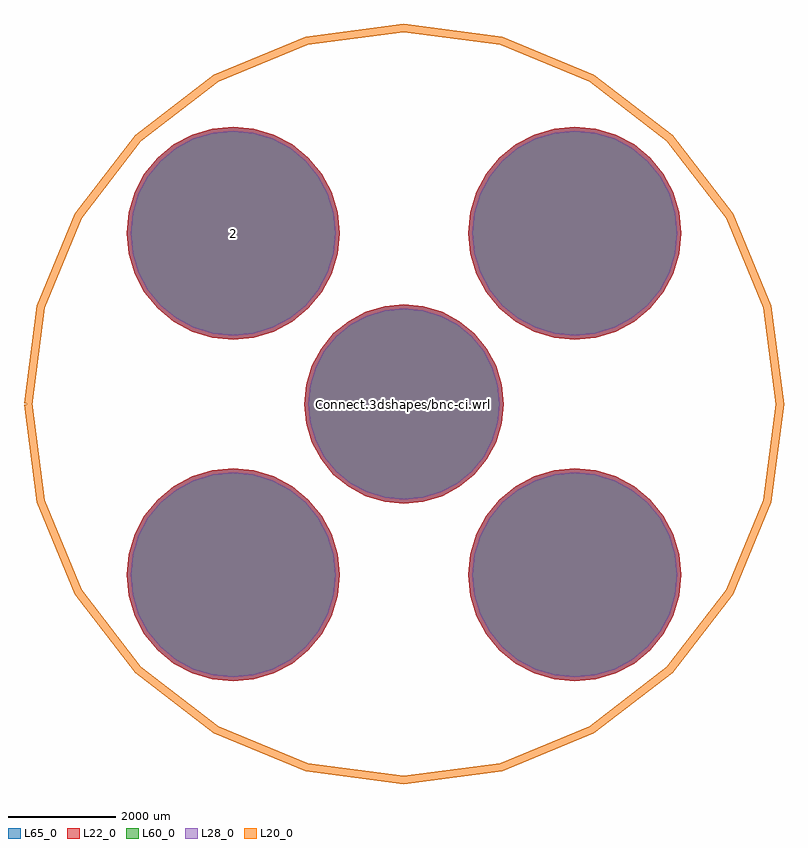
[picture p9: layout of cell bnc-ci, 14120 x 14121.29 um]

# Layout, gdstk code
import gdstk
lib = gdstk.Library(unit=1e-6, precision=1e-09)
def P(c, l, *ps):  # polygons
    for p in ps: c.add(gdstk.Polygon(p, *l))
L20_0 = (20, 0)
L22_0 = (22, 0)
L28_0 = (28, 0)
L60_0 = (60, 0)
L65_0 = (65, 0)

bnc_ci = lib.new_cell('bnc-ci')
P(bnc_ci, L22_0, [(5155,-3175),(5116.955,-2788.721),(5004.281,-2417.287),(4821.31,-2074.971),(4575.071,-1774.929),(4275.029,-1528.69),(3932.713,-1345.719),(3561.279,-1233.045),(3175,-1195),(2788.721,-1233.045),(2417.287,-1345.719),(2074.971,-1528.69),(1774.929,-1774.929),(1528.69,-2074.971),(1345.719,-2417.287),(1233.045,-2788.721),(1195,-3175),(1233.045,-3561.279),(1345.719,-3932.713),(1528.69,-4275.029),(1774.929,-4575.071),(2074.971,-4821.31),(2417.287,-5004.281),(2788.721,-5116.955),(3175,-5155),(3561.279,-5116.955),(3932.713,-5004.281),(4275.029,-4821.31),(4575.071,-4575.071),(4821.31,-4275.029),(5004.281,-3932.713),(5116.955,-3561.279)],
  [(-1195,-3175),(-1233.045,-2788.721),(-1345.719,-2417.287),(-1528.69,-2074.971),(-1774.929,-1774.929),(-2074.971,-1528.69),(-2417.287,-1345.719),(-2788.721,-1233.045),(-3175,-1195),(-3561.279,-1233.045),(-3932.713,-1345.719),(-4275.029,-1528.69),(-4575.071,-1774.929),(-4821.31,-2074.971),(-5004.281,-2417.287),(-5116.955,-2788.721),(-5155,-3175),(-5116.955,-3561.279),(-5004.281,-3932.713),(-4821.31,-4275.029),(-4575.071,-4575.071),(-4275.029,-4821.31),(-3932.713,-5004.281),(-3561.279,-5116.955),(-3175,-5155),(-2788.721,-5116.955),(-2417.287,-5004.281),(-2074.971,-4821.31),(-1774.929,-4575.071),(-1528.69,-4275.029),(-1345.719,-3932.713),(-1233.045,-3561.279)],
  [(5155,3175),(5116.955,3561.279),(5004.281,3932.713),(4821.31,4275.029),(4575.071,4575.071),(4275.029,4821.31),(3932.713,5004.281),(3561.279,5116.955),(3175,5155),(2788.721,5116.955),(2417.287,5004.281),(2074.971,4821.31),(1774.929,4575.071),(1528.69,4275.029),(1345.719,3932.713),(1233.045,3561.279),(1195,3175),(1233.045,2788.721),(1345.719,2417.287),(1528.69,2074.971),(1774.929,1774.929),(2074.971,1528.69),(2417.287,1345.719),(2788.721,1233.045),(3175,1195),(3561.279,1233.045),(3932.713,1345.719),(4275.029,1528.69),(4575.071,1774.929),(4821.31,2074.971),(5004.281,2417.287),(5116.955,2788.721)],
  [(1853,0),(1817.395,361.502),(1711.949,709.112),(1540.713,1029.472),(1310.269,1310.269),(1029.472,1540.713),(709.112,1711.949),(361.502,1817.395),(0,1853),(-361.502,1817.395),(-709.112,1711.949),(-1029.472,1540.713),(-1310.269,1310.269),(-1540.713,1029.472),(-1711.949,709.112),(-1817.395,361.502),(-1853,0),(-1817.395,-361.502),(-1711.949,-709.112),(-1540.713,-1029.472),(-1310.269,-1310.269),(-1029.472,-1540.713),(-709.112,-1711.949),(-361.502,-1817.395),(0,-1853),(361.502,-1817.395),(709.112,-1711.949),(1029.472,-1540.713),(1310.269,-1310.269),(1540.713,-1029.472),(1711.949,-709.112),(1817.395,-361.502)],
  [(-1195,3175),(-1233.045,3561.279),(-1345.719,3932.713),(-1528.69,4275.029),(-1774.929,4575.071),(-2074.971,4821.31),(-2417.287,5004.281),(-2788.721,5116.955),(-3175,5155),(-3561.279,5116.955),(-3932.713,5004.281),(-4275.029,4821.31),(-4575.071,4575.071),(-4821.31,4275.029),(-5004.281,3932.713),(-5116.955,3561.279),(-5155,3175),(-5116.955,2788.721),(-5004.281,2417.287),(-4821.31,2074.971),(-4575.071,1774.929),(-4275.029,1528.69),(-3932.713,1345.719),(-3561.279,1233.045),(-3175,1195),(-2788.721,1233.045),(-2417.287,1345.719),(-2074.971,1528.69),(-1774.929,1774.929),(-1528.69,2074.971),(-1345.719,2417.287),(-1233.045,2788.721)])
P(bnc_ci, L28_0, [(5080,-3175),(5043.396,-2803.353),(4934.991,-2445.988),(4758.95,-2116.639),(4522.038,-1827.962),(4233.361,-1591.05),(3904.012,-1415.009),(3546.647,-1306.604),(3175,-1270),(2803.353,-1306.604),(2445.988,-1415.009),(2116.639,-1591.05),(1827.962,-1827.962),(1591.05,-2116.639),(1415.009,-2445.988),(1306.604,-2803.353),(1270,-3175),(1306.604,-3546.647),(1415.009,-3904.012),(1591.05,-4233.361),(1827.962,-4522.038),(2116.639,-4758.95),(2445.988,-4934.991),(2803.353,-5043.396),(3175,-5080),(3546.647,-5043.396),(3904.012,-4934.991),(4233.361,-4758.95),(4522.038,-4522.038),(4758.95,-4233.361),(4934.991,-3904.012),(5043.396,-3546.647)],
  [(-1270,-3175),(-1306.604,-2803.353),(-1415.009,-2445.988),(-1591.05,-2116.639),(-1827.962,-1827.962),(-2116.639,-1591.05),(-2445.988,-1415.009),(-2803.353,-1306.604),(-3175,-1270),(-3546.647,-1306.604),(-3904.012,-1415.009),(-4233.361,-1591.05),(-4522.038,-1827.962),(-4758.95,-2116.639),(-4934.991,-2445.988),(-5043.396,-2803.353),(-5080,-3175),(-5043.396,-3546.647),(-4934.991,-3904.012),(-4758.95,-4233.361),(-4522.038,-4522.038),(-4233.361,-4758.95),(-3904.012,-4934.991),(-3546.647,-5043.396),(-3175,-5080),(-2803.353,-5043.396),(-2445.988,-4934.991),(-2116.639,-4758.95),(-1827.962,-4522.038),(-1591.05,-4233.361),(-1415.009,-3904.012),(-1306.604,-3546.647)],
  [(5080,3175),(5043.396,3546.647),(4934.991,3904.012),(4758.95,4233.361),(4522.038,4522.038),(4233.361,4758.95),(3904.012,4934.991),(3546.647,5043.396),(3175,5080),(2803.353,5043.396),(2445.988,4934.991),(2116.639,4758.95),(1827.962,4522.038),(1591.05,4233.361),(1415.009,3904.012),(1306.604,3546.647),(1270,3175),(1306.604,2803.353),(1415.009,2445.988),(1591.05,2116.639),(1827.962,1827.962),(2116.639,1591.05),(2445.988,1415.009),(2803.353,1306.604),(3175,1270),(3546.647,1306.604),(3904.012,1415.009),(4233.361,1591.05),(4522.038,1827.962),(4758.95,2116.639),(4934.991,2445.988),(5043.396,2803.353)],
  [(1778,0),(1743.836,346.871),(1642.658,680.411),(1478.353,987.804),(1257.236,1257.236),(987.804,1478.353),(680.411,1642.658),(346.871,1743.836),(0,1778),(-346.871,1743.836),(-680.411,1642.658),(-987.804,1478.353),(-1257.236,1257.236),(-1478.353,987.804),(-1642.658,680.411),(-1743.836,346.871),(-1778,0),(-1743.836,-346.871),(-1642.658,-680.411),(-1478.353,-987.804),(-1257.236,-1257.236),(-987.804,-1478.353),(-680.411,-1642.658),(-346.871,-1743.836),(0,-1778),(346.871,-1743.836),(680.411,-1642.658),(987.804,-1478.353),(1257.236,-1257.236),(1478.353,-987.804),(1642.658,-680.411),(1743.836,-346.871)],
  [(-1270,3175),(-1306.604,3546.647),(-1415.009,3904.012),(-1591.05,4233.361),(-1827.962,4522.038),(-2116.639,4758.95),(-2445.988,4934.991),(-2803.353,5043.396),(-3175,5080),(-3546.647,5043.396),(-3904.012,4934.991),(-4233.361,4758.95),(-4522.038,4522.038),(-4758.95,4233.361),(-4934.991,3904.012),(-5043.396,3546.647),(-5080,3175),(-5043.396,2803.353),(-4934.991,2445.988),(-4758.95,2116.639),(-4522.038,1827.962),(-4233.361,1591.05),(-3904.012,1415.009),(-3546.647,1306.604),(-3175,1270),(-2803.353,1306.604),(-2445.988,1415.009),(-2116.639,1591.05),(-1827.962,1827.962),(-1591.05,2116.639),(-1415.009,2445.988),(-1306.604,2803.353)])
P(bnc_ci, L60_0, [(5080,-3175),(5043.396,-2803.353),(4934.991,-2445.988),(4758.95,-2116.639),(4522.038,-1827.962),(4233.361,-1591.05),(3904.012,-1415.009),(3546.647,-1306.604),(3175,-1270),(2803.353,-1306.604),(2445.988,-1415.009),(2116.639,-1591.05),(1827.962,-1827.962),(1591.05,-2116.639),(1415.009,-2445.988),(1306.604,-2803.353),(1270,-3175),(1306.604,-3546.647),(1415.009,-3904.012),(1591.05,-4233.361),(1827.962,-4522.038),(2116.639,-4758.95),(2445.988,-4934.991),(2803.353,-5043.396),(3175,-5080),(3546.647,-5043.396),(3904.012,-4934.991),(4233.361,-4758.95),(4522.038,-4522.038),(4758.95,-4233.361),(4934.991,-3904.012),(5043.396,-3546.647)],
  [(-1270,-3175),(-1306.604,-2803.353),(-1415.009,-2445.988),(-1591.05,-2116.639),(-1827.962,-1827.962),(-2116.639,-1591.05),(-2445.988,-1415.009),(-2803.353,-1306.604),(-3175,-1270),(-3546.647,-1306.604),(-3904.012,-1415.009),(-4233.361,-1591.05),(-4522.038,-1827.962),(-4758.95,-2116.639),(-4934.991,-2445.988),(-5043.396,-2803.353),(-5080,-3175),(-5043.396,-3546.647),(-4934.991,-3904.012),(-4758.95,-4233.361),(-4522.038,-4522.038),(-4233.361,-4758.95),(-3904.012,-4934.991),(-3546.647,-5043.396),(-3175,-5080),(-2803.353,-5043.396),(-2445.988,-4934.991),(-2116.639,-4758.95),(-1827.962,-4522.038),(-1591.05,-4233.361),(-1415.009,-3904.012),(-1306.604,-3546.647)],
  [(5080,3175),(5043.396,3546.647),(4934.991,3904.012),(4758.95,4233.361),(4522.038,4522.038),(4233.361,4758.95),(3904.012,4934.991),(3546.647,5043.396),(3175,5080),(2803.353,5043.396),(2445.988,4934.991),(2116.639,4758.95),(1827.962,4522.038),(1591.05,4233.361),(1415.009,3904.012),(1306.604,3546.647),(1270,3175),(1306.604,2803.353),(1415.009,2445.988),(1591.05,2116.639),(1827.962,1827.962),(2116.639,1591.05),(2445.988,1415.009),(2803.353,1306.604),(3175,1270),(3546.647,1306.604),(3904.012,1415.009),(4233.361,1591.05),(4522.038,1827.962),(4758.95,2116.639),(4934.991,2445.988),(5043.396,2803.353)],
  [(1778,0),(1743.836,346.871),(1642.658,680.411),(1478.353,987.804),(1257.236,1257.236),(987.804,1478.353),(680.411,1642.658),(346.871,1743.836),(0,1778),(-346.871,1743.836),(-680.411,1642.658),(-987.804,1478.353),(-1257.236,1257.236),(-1478.353,987.804),(-1642.658,680.411),(-1743.836,346.871),(-1778,0),(-1743.836,-346.871),(-1642.658,-680.411),(-1478.353,-987.804),(-1257.236,-1257.236),(-987.804,-1478.353),(-680.411,-1642.658),(-346.871,-1743.836),(0,-1778),(346.871,-1743.836),(680.411,-1642.658),(987.804,-1478.353),(1257.236,-1257.236),(1478.353,-987.804),(1642.658,-680.411),(1743.836,-346.871)],
  [(-1270,3175),(-1306.604,3546.647),(-1415.009,3904.012),(-1591.05,4233.361),(-1827.962,4522.038),(-2116.639,4758.95),(-2445.988,4934.991),(-2803.353,5043.396),(-3175,5080),(-3546.647,5043.396),(-3904.012,4934.991),(-4233.361,4758.95),(-4522.038,4522.038),(-4758.95,4233.361),(-4934.991,3904.012),(-5043.396,3546.647),(-5080,3175),(-5043.396,2803.353),(-4934.991,2445.988),(-4758.95,2116.639),(-4522.038,1827.962),(-4233.361,1591.05),(-3904.012,1415.009),(-3546.647,1306.604),(-3175,1270),(-2803.353,1306.604),(-2445.988,1415.009),(-2116.639,1591.05),(-1827.962,1827.962),(-1591.05,2116.639),(-1415.009,2445.988),(-1306.604,2803.353)])
P(bnc_ci, L65_0, [(5155,-3175),(5116.955,-2788.721),(5004.281,-2417.287),(4821.31,-2074.971),(4575.071,-1774.929),(4275.029,-1528.69),(3932.713,-1345.719),(3561.279,-1233.045),(3175,-1195),(2788.721,-1233.045),(2417.287,-1345.719),(2074.971,-1528.69),(1774.929,-1774.929),(1528.69,-2074.971),(1345.719,-2417.287),(1233.045,-2788.721),(1195,-3175),(1233.045,-3561.279),(1345.719,-3932.713),(1528.69,-4275.029),(1774.929,-4575.071),(2074.971,-4821.31),(2417.287,-5004.281),(2788.721,-5116.955),(3175,-5155),(3561.279,-5116.955),(3932.713,-5004.281),(4275.029,-4821.31),(4575.071,-4575.071),(4821.31,-4275.029),(5004.281,-3932.713),(5116.955,-3561.279)],
  [(-1195,-3175),(-1233.045,-2788.721),(-1345.719,-2417.287),(-1528.69,-2074.971),(-1774.929,-1774.929),(-2074.971,-1528.69),(-2417.287,-1345.719),(-2788.721,-1233.045),(-3175,-1195),(-3561.279,-1233.045),(-3932.713,-1345.719),(-4275.029,-1528.69),(-4575.071,-1774.929),(-4821.31,-2074.971),(-5004.281,-2417.287),(-5116.955,-2788.721),(-5155,-3175),(-5116.955,-3561.279),(-5004.281,-3932.713),(-4821.31,-4275.029),(-4575.071,-4575.071),(-4275.029,-4821.31),(-3932.713,-5004.281),(-3561.279,-5116.955),(-3175,-5155),(-2788.721,-5116.955),(-2417.287,-5004.281),(-2074.971,-4821.31),(-1774.929,-4575.071),(-1528.69,-4275.029),(-1345.719,-3932.713),(-1233.045,-3561.279)],
  [(5155,3175),(5116.955,3561.279),(5004.281,3932.713),(4821.31,4275.029),(4575.071,4575.071),(4275.029,4821.31),(3932.713,5004.281),(3561.279,5116.955),(3175,5155),(2788.721,5116.955),(2417.287,5004.281),(2074.971,4821.31),(1774.929,4575.071),(1528.69,4275.029),(1345.719,3932.713),(1233.045,3561.279),(1195,3175),(1233.045,2788.721),(1345.719,2417.287),(1528.69,2074.971),(1774.929,1774.929),(2074.971,1528.69),(2417.287,1345.719),(2788.721,1233.045),(3175,1195),(3561.279,1233.045),(3932.713,1345.719),(4275.029,1528.69),(4575.071,1774.929),(4821.31,2074.971),(5004.281,2417.287),(5116.955,2788.721)],
  [(1853,0),(1817.395,361.502),(1711.949,709.112),(1540.713,1029.472),(1310.269,1310.269),(1029.472,1540.713),(709.112,1711.949),(361.502,1817.395),(0,1853),(-361.502,1817.395),(-709.112,1711.949),(-1029.472,1540.713),(-1310.269,1310.269),(-1540.713,1029.472),(-1711.949,709.112),(-1817.395,361.502),(-1853,0),(-1817.395,-361.502),(-1711.949,-709.112),(-1540.713,-1029.472),(-1310.269,-1310.269),(-1029.472,-1540.713),(-709.112,-1711.949),(-361.502,-1817.395),(0,-1853),(361.502,-1817.395),(709.112,-1711.949),(1029.472,-1540.713),(1310.269,-1310.269),(1540.713,-1029.472),(1711.949,-709.112),(1817.395,-361.502)],
  [(-1195,3175),(-1233.045,3561.279),(-1345.719,3932.713),(-1528.69,4275.029),(-1774.929,4575.071),(-2074.971,4821.31),(-2417.287,5004.281),(-2788.721,5116.955),(-3175,5155),(-3561.279,5116.955),(-3932.713,5004.281),(-4275.029,4821.31),(-4575.071,4575.071),(-4821.31,4275.029),(-5004.281,3932.713),(-5116.955,3561.279),(-5155,3175),(-5116.955,2788.721),(-5004.281,2417.287),(-4821.31,2074.971),(-4575.071,1774.929),(-4275.029,1528.69),(-3932.713,1345.719),(-3561.279,1233.045),(-3175,1195),(-2788.721,1233.045),(-2417.287,1345.719),(-2074.971,1528.69),(-1774.929,1774.929),(-1528.69,2074.971),(-1345.719,2417.287),(-1233.045,2788.721)])
bnc_ci.add(gdstk.FlexPath([(-6985,0),(-6746.992,-1807.851),(-6049.187,-3492.5),(-4939.141,-4939.141),(-3492.5,-6049.187),(-1807.851,-6746.992),(0,-6985),(1807.851,-6746.992),(3492.5,-6049.187),(4939.141,-4939.141),(6049.187,-3492.5),(6746.992,-1807.851),(6985,0),(6746.992,1807.851),(6049.187,3492.5),(4939.141,4939.141),(3492.5,6049.187),(1807.851,6746.992),(0,6985),(-1807.851,6746.992),(-3492.5,6049.187),(-4939.141,4939.141),(-6049.187,3492.5),(-6746.992,1807.851),(-6985,0)], 149.998, ends="flush", simple_path=True, layer=20, datatype=0))  # L20_0
bnc_ci.add(gdstk.Label('Connect.3dshapes/bnc-ci.wrl', (0,0), layer=12, texttype=0))
bnc_ci.add(gdstk.Label('1', (0,0), layer=28, texttype=0))
bnc_ci.add(gdstk.Label('2', (-3175,3175), layer=28, texttype=0))
bnc_ci.add(gdstk.Label('type', (0,-8890), layer=9, texttype=0))
bnc_ci.add(gdstk.Label('devicename', (0,8890), layer=9, texttype=0))

lib.write_gds('bnc-ci.gds')
